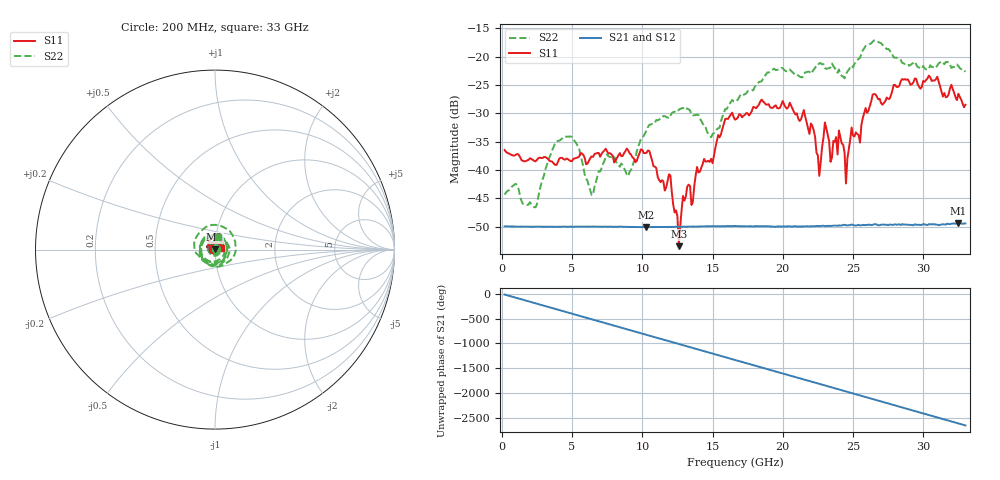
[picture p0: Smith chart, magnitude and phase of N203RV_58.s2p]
# GHZ S RI R 50
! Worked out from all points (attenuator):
!   329 points, 200 MHz to 33 GHz, reference 50 ohm
!   highest |S21| = -49.41 dB at 32.5 GHz (marker M1); lowest = -50.1 dB at 10.3 GHz (marker M2)
!   lowest |S11| = -53.5 dB at 12.6 GHz (marker M3), VSWR 1.00, Z = 49.8 + j0.0651 ohm
!   |S11| at or under -10 dB: start of sweep to end of sweep
!   |S22| runs from -46.6 to -17.2 dB; largest |S21 - S12| = 7.2e-05
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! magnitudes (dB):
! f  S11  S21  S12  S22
! 200 MHz  -36.5  -50.0  -50.0  -44.4
! 2.4 GHz  -38.5  -50.0  -50.0  -46.6
! 4.5 GHz  -38.2  -50.0  -50.0  -34.1
! 5.7 GHz  -37.1  -50.0  -50.0  -38.3
! 6.5 GHz  -37.7  -50.0  -50.0  -44.3
! 10.3 GHz  -37.0  -50.1  -50.1  -33.1
! 11.2 GHz  -41.8  -50.1  -50.1  -31.1
! 12 GHz  -41.0  -50.1  -50.1  -30.4
! 12.6 GHz  -53.5  -50.1  -50.0  -29.4
! 12.9 GHz  -44.6  -50.0  -50.0  -29.1
! 14.9 GHz  -38.1  -49.9  -49.9  -34.2
! 16.6 GHz  -31.1  -49.9  -49.9  -28.0
! 22.1 GHz  -32.2  -50.0  -49.9  -22.7
! 22.6 GHz  -41.0  -49.9  -49.9  -21.2
! 23 GHz  -31.6  -49.9  -49.9  -22.0
! 23.4 GHz  -38.6  -49.9  -49.9  -21.9
! 24 GHz  -33.1  -49.8  -49.8  -22.3
! 24.5 GHz  -42.4  -49.8  -49.7  -23.1
! 24.9 GHz  -32.5  -49.6  -49.7  -21.6
! 27.6 GHz  -27.5  -49.7  -49.7  -18.9
! 32.5 GHz  -26.6  -49.4  -49.5  -21.7
! 33 GHz  -28.5  -49.5  -49.5  -22.7
